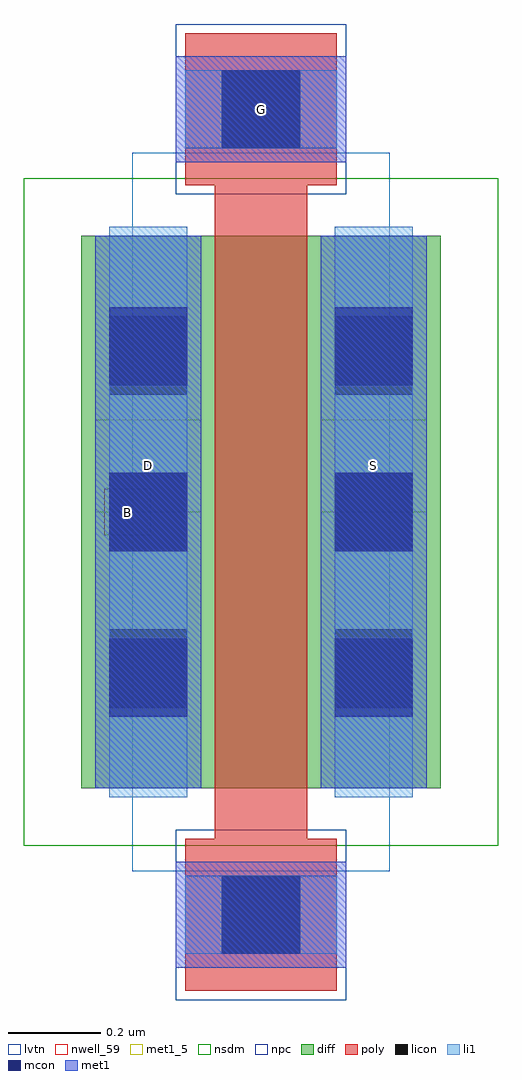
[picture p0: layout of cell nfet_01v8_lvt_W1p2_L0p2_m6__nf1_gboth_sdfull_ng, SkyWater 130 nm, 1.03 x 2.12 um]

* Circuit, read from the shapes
.subckt nfet_01v8_lvt_W1p2_L0p2_m6__nf1_gboth_sdfull_ng B D G S
XM1 S G D B sky130_fd_pr__nfet_01v8_lvt w=1.2 l=0.2
.ends

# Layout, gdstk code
import gdstk
lib = gdstk.Library(unit=1e-6, precision=1e-09)
def R(c, l, rs):  # rectangles x0, y0, x1, y1
    for r in rs: c.add(gdstk.rectangle(r[:2], r[2:], *l))
def A(c, l, x, y, w, h, nx, ny, dx, dy):  # array of equal rectangles
    R(c, l, [(x+i*dx, y+j*dy, x+i*dx+w, y+j*dy+h) for i in range(nx) for j in range(ny)])
nwell_59 = (64, 59)
diff = (65, 20)
poly = (66, 20)
licon = (66, 44)
li1 = (67, 20)
mcon = (67, 44)
met1_5 = (68, 5)
met1 = (68, 20)
nsdm = (93, 44)
npc = (95, 20)
lvtn = (125, 44)

sky130_fd_pr__nfet_01v8_ = lib.new_cell('sky130_fd_pr__nfet_01v8_lvt_A2K2V3')
R(sky130_fd_pr__nfet_01v8_, diff, [(-0.39,-0.6,0.39,0.6)])
R(sky130_fd_pr__nfet_01v8_, poly, [(-0.165,-1.04,0.165,-0.71), (-0.1,-0.71,0.1,0.71), (-0.165,0.71,0.165,1.04)])
A(sky130_fd_pr__nfet_01v8_, licon, -0.33, -0.425, 0.17, 0.17, 1, 3, 0, 0.34)
A(sky130_fd_pr__nfet_01v8_, licon, 0.16, -0.425, 0.17, 0.17, 1, 3, 0, 0.34)
R(sky130_fd_pr__nfet_01v8_, licon, [(-0.085,-0.96,0.085,-0.79), (-0.085,0.79,0.085,0.96)])
R(sky130_fd_pr__nfet_01v8_, li1, [(-0.165,-0.96,0.165,-0.79), (-0.33,-0.62,-0.16,0.62), (0.16,-0.62,0.33,0.62), (-0.165,0.79,0.165,0.96)])
A(sky130_fd_pr__nfet_01v8_, mcon, -0.33, -0.445, 0.17, 0.17, 1, 3, 0, 0.36)
A(sky130_fd_pr__nfet_01v8_, mcon, 0.16, -0.445, 0.17, 0.17, 1, 3, 0, 0.36)
R(sky130_fd_pr__nfet_01v8_, mcon, [(-0.085,-0.96,0.085,-0.79), (-0.085,0.79,0.085,0.96)])
R(sky130_fd_pr__nfet_01v8_, met1, [(-0.145,-0.99,0.145,-0.76), (-0.36,-0.6,-0.13,0.6), (0.13,-0.6,0.36,0.6), (-0.145,0.76,0.145,0.99)])
R(sky130_fd_pr__nfet_01v8_, nsdm, [(-0.515,-0.725,0.515,0.725)])
R(sky130_fd_pr__nfet_01v8_, npc, [(-0.185,-1.06,0.185,-0.69), (-0.185,0.69,0.185,1.06)])
R(sky130_fd_pr__nfet_01v8_, lvtn, [(-0.28,-0.78,0.28,0.78)])
sky130_fd_pr__nfet_01v8_.add(gdstk.Label('D', (-0.245,0), layer=67, texttype=5))
sky130_fd_pr__nfet_01v8_.add(gdstk.Label('S', (0.245,0), layer=67, texttype=5))
sky130_fd_pr__nfet_01v8_.add(gdstk.Label('G', (0,0.875), layer=67, texttype=5))

nfet_01v8_lvt_w1p2_l0p2_ = lib.new_cell('nfet_01v8_lvt_W1p2_L0p2_m6__nf1_gboth_sdfull_ng')
R(nfet_01v8_lvt_w1p2_l0p2_, nwell_59, [(0.05,0.99,0.15,1.09)])
R(nfet_01v8_lvt_w1p2_l0p2_, met1_5, [(0.03,1.04,0.26,1.24), (0.52,1.04,0.75,1.24), (0.205,1.8,0.575,2.03)])
R(nfet_01v8_lvt_w1p2_l0p2_, met1, [(0.205,0.05,0.575,0.28), (0.03,1.04,0.26,1.24), (0.52,1.04,0.75,1.24), (0.205,1.8,0.575,2.03)])
nfet_01v8_lvt_w1p2_l0p2_.add(gdstk.Reference(sky130_fd_pr__nfet_01v8_, (0.39,1.04)))
nfet_01v8_lvt_w1p2_l0p2_.add(gdstk.Label('D', (0.145,1.14), layer=68, texttype=5))
nfet_01v8_lvt_w1p2_l0p2_.add(gdstk.Label('S', (0.635,1.14), layer=68, texttype=5))
nfet_01v8_lvt_w1p2_l0p2_.add(gdstk.Label('G', (0.39,1.915), layer=68, texttype=5))
nfet_01v8_lvt_w1p2_l0p2_.add(gdstk.Label('B', (0.1,1.04), layer=64, texttype=59))

lib.write_gds('nfet_01v8_lvt_W1p2_L0p2_m6__nf1_gboth_sdfull_ng.gds')
